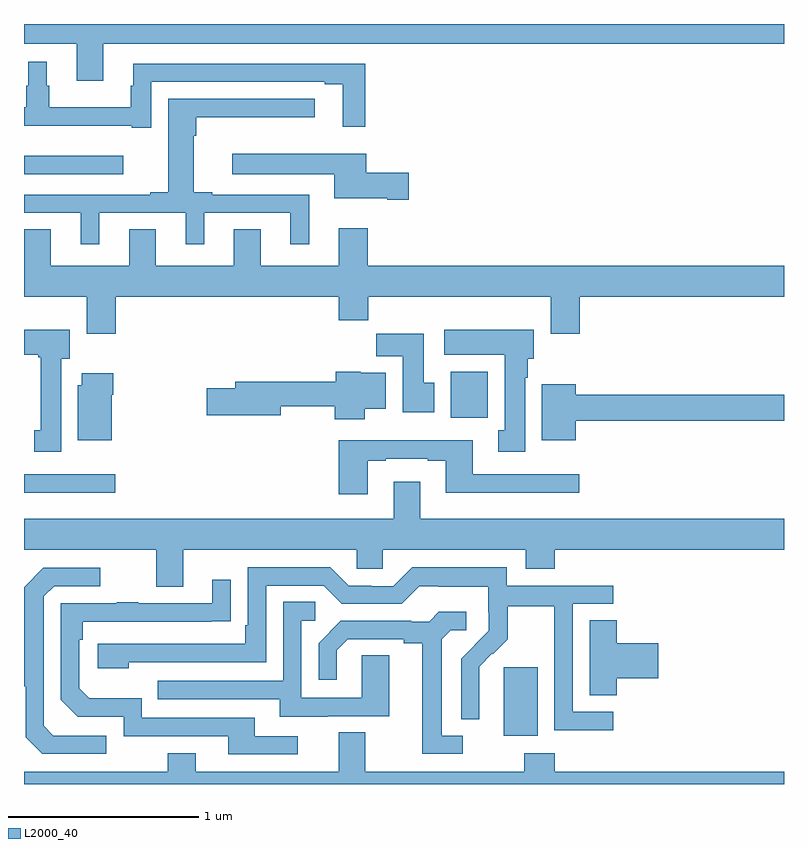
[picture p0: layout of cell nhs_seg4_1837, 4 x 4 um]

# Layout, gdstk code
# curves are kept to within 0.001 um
import gdstk
lib = gdstk.Library(unit=1e-6, precision=1e-09)
def R(c, l, rs):  # rectangles x0, y0, x1, y1
    for r in rs: c.add(gdstk.rectangle(r[:2], r[2:], *l))
def P(c, l, *ps):  # polygons
    for p in ps: c.add(gdstk.Polygon(p, *l))
L2000_40 = (2000, 40)

nhs_seg4_1837 = lib.new_cell('nhs_seg4_1837')
R(nhs_seg4_1837, L2000_40, [(207.524,817.154,207.703,817.515), (205,818.432,205.48,818.529), (207.245,818.828,207.442,819.07), (205,820.11,205.522,820.207)])
P(nhs_seg4_1837, L2000_40, [(205.417,820.796),(209,820.796),(209,820.9),(205,820.9),(205,820.796),(205.277,820.796),(205.277,820.602),(205.417,820.602)],
  [(205.671,820.596),(206.582,820.596),(206.582,820.584),(206.678,820.584),(206.678,820.359),(206.795,820.359),(206.795,820.692),(205.574,820.692),(205.574,820.574),(205.563,820.574),(205.563,820.462),(205.132,820.462),(205.132,820.574),(205.12,820.574),(205.12,820.702),(205.022,820.702),(205.022,820.574),(205.011,820.574),(205.011,820.462),(205,820.462),(205,820.364),(205.568,820.364),(205.568,820.353),(205.671,820.353)],
  [(205.396,819.906),(205.85,819.906),(205.85,819.741),(205.948,819.741),(205.948,819.906),(206.402,819.906),(206.402,819.741),(206.5,819.741),(206.5,820.002),(205.99,820.002),(205.99,820.015),(205.894,820.015),(205.894,820.313),(205.907,820.313),(205.907,820.409),(206.53,820.409),(206.53,820.506),(205.76,820.506),(205.76,820.015),(205.664,820.015),(205.664,820.002),(205,820.002),(205,819.906),(205.298,819.906),(205.298,819.741),(205.396,819.741)],
  [(207.025,820.118),(206.8,820.118),(206.8,820.216),(206.097,820.216),(206.097,820.109),(206.633,820.109),(206.633,819.983),(206.912,819.983),(206.912,819.976),(207.025,819.976)],
  [(205.001,819.821),(205.001,819.628),(205,819.628),(205,819.464),(205.331,819.464),(205.331,819.27),(205.484,819.27),(205.484,819.464),(206.657,819.464),(206.657,819.34),(206.813,819.34),(206.813,819.464),(207.773,819.464),(207.773,819.27),(207.926,819.27),(207.926,819.464),(209,819.464),(209,819.628),(206.81,819.628),(206.81,819.826),(206.657,819.826),(206.657,819.628),(206.245,819.628),(206.245,819.821),(206.105,819.821),(206.105,819.628),(205.693,819.628),(205.693,819.821),(205.553,819.821),(205.553,819.628),(205.141,819.628),(205.141,819.821)],
  [(205.195,819.138),(205.24,819.138),(205.24,819.292),(205,819.292),(205,819.158),(205.075,819.158),(205.075,819.145),(205.088,819.145),(205.088,818.762),(205.055,818.762),(205.055,818.649),(205.195,818.649)],
  [(207.637,819.038),(207.652,819.038),(207.652,819.138),(207.682,819.138),(207.682,819.292),(207.213,819.292),(207.213,819.158),(207.53,819.158),(207.53,818.762),(207.497,818.762),(207.497,818.649),(207.637,818.649)],
  [(207.16,819.012),(207.103,819.012),(207.103,819.271),(206.854,819.271),(206.854,819.152),(206.993,819.152),(206.993,818.856),(207.16,818.856)],
  [(206.794,818.876),(206.905,818.876),(206.905,819.064),(206.772,819.064),(206.772,819.07),(206.642,819.07),(206.642,819.016),(206.111,819.016),(206.111,818.982),(205.962,818.982),(205.962,818.84),(206.35,818.84),(206.35,818.887),(206.636,818.887),(206.636,818.819),(206.794,818.819)],
  [(205.462,818.948),(205.47,818.948),(205.47,819.061),(205.304,819.061),(205.304,819),(205.283,819),(205.283,818.708),(205.462,818.708)],
  [(207.904,818.812),(209,818.812),(209,818.948),(207.904,818.948),(207.904,819.004),(207.725,819.004),(207.725,818.708),(207.904,818.708)],
  [(206.809,818.601),(206.905,818.601),(206.905,818.613),(207.125,818.613),(207.125,818.601),(207.221,818.601),(207.221,818.432),(207.922,818.432),(207.922,818.529),(207.361,818.529),(207.361,818.71),(206.657,818.71),(206.657,818.424),(206.809,818.424)],
  [(205.837,818.132),(206.751,818.132),(206.751,818.034),(206.889,818.034),(206.889,818.132),(207.641,818.132),(207.641,818.033),(207.794,818.033),(207.794,818.132),(209,818.132),(209,818.296),(207.085,818.296),(207.085,818.491),(206.945,818.491),(206.945,818.296),(205,818.296),(205,818.132),(205.697,818.132),(205.697,817.938),(205.837,817.938)],
  [(208.102,817.281),(207.888,817.281),(207.888,817.848),(208.102,817.848),(208.102,817.944),(207.54,817.944),(207.54,818.041),(207.043,818.041),(206.943,817.941),(206.828,817.941),(206.828,817.944),(206.709,817.944),(206.613,818.04),(206.178,818.04),(206.178,817.735),(206.165,817.735),(206.165,817.638),(205.389,817.638),(205.389,817.508),(205.55,817.508),(205.55,817.542),(206.274,817.542),(206.274,817.944),(206.577,817.944),(206.673,817.848),(206.988,817.848),(207.081,817.941),(207.181,817.941),(207.181,817.937),(207.444,817.937),(207.444,817.803),(207.446,817.803),(207.446,817.706),(207.3,817.558),(207.3,817.24),(207.396,817.24),(207.395,817.517),(207.465,817.587),(207.468,817.584),(207.545,817.661),(207.545,817.836),(207.79,817.836),(207.79,817.612),(207.792,817.612),(207.792,817.183),(208.102,817.183)],
  [(205.432,817.155),(205.155,817.155),(205.104,817.206),(205.104,817.887),(205.158,817.941),(205.402,817.941),(205.402,818.037),(205.101,818.037),(205,817.935),(205,817.415),(205.008,817.415),(205.008,817.146),(205.095,817.059),(205.432,817.059)],
  [(206.44,817.152),(206.215,817.152),(206.215,817.248),(205.62,817.248),(205.62,817.351),(205.343,817.351),(205.29,817.404),(205.29,817.658),(205.31,817.658),(205.31,817.755),(206.087,817.756),(206.087,817.975),(205.991,817.975),(205.991,817.851),(205.601,817.851),(205.601,817.856),(205.489,817.856),(205.489,817.851),(205.194,817.851),(205.194,817.344),(205.284,817.254),(205.524,817.254),(205.524,817.152),(206.075,817.152),(206.075,817.056),(206.44,817.056)],
  [(206.599,817.257),(206.923,817.257),(206.923,817.577),(206.778,817.577),(206.778,817.353),(206.46,817.353),(206.46,817.758),(206.533,817.758),(206.533,817.859),(206.364,817.859),(206.364,817.443),(205.705,817.443),(205.705,817.347),(206.345,817.347),(206.345,817.253),(206.599,817.253)],
  [(207.31,817.155),(207.199,817.155),(207.199,817.663),(207.246,817.71),(207.328,817.71),(207.328,817.807),(207.184,817.807),(207.132,817.755),(207.038,817.755),(207.038,817.758),(206.666,817.758),(206.55,817.642),(206.55,817.449),(206.647,817.449),(206.647,817.605),(206.704,817.662),(206.999,817.662),(206.999,817.64),(207.095,817.64),(207.095,817.059),(207.31,817.059)],
  [(208.121,817.457),(208.339,817.457),(208.339,817.64),(208.121,817.64),(208.121,817.763),(207.977,817.763),(207.977,817.366),(208.121,817.366)],
  [(209,816.964),(207.794,816.964),(207.794,817.063),(207.634,817.063),(207.634,816.964),(206.797,816.964),(206.797,817.172),(206.657,817.172),(206.657,816.964),(205.903,816.964),(205.903,817.063),(205.756,817.063),(205.756,816.964),(205,816.964),(205,816.9),(209,816.9)])

lib.write_gds('nhs_seg4_1837.gds')
